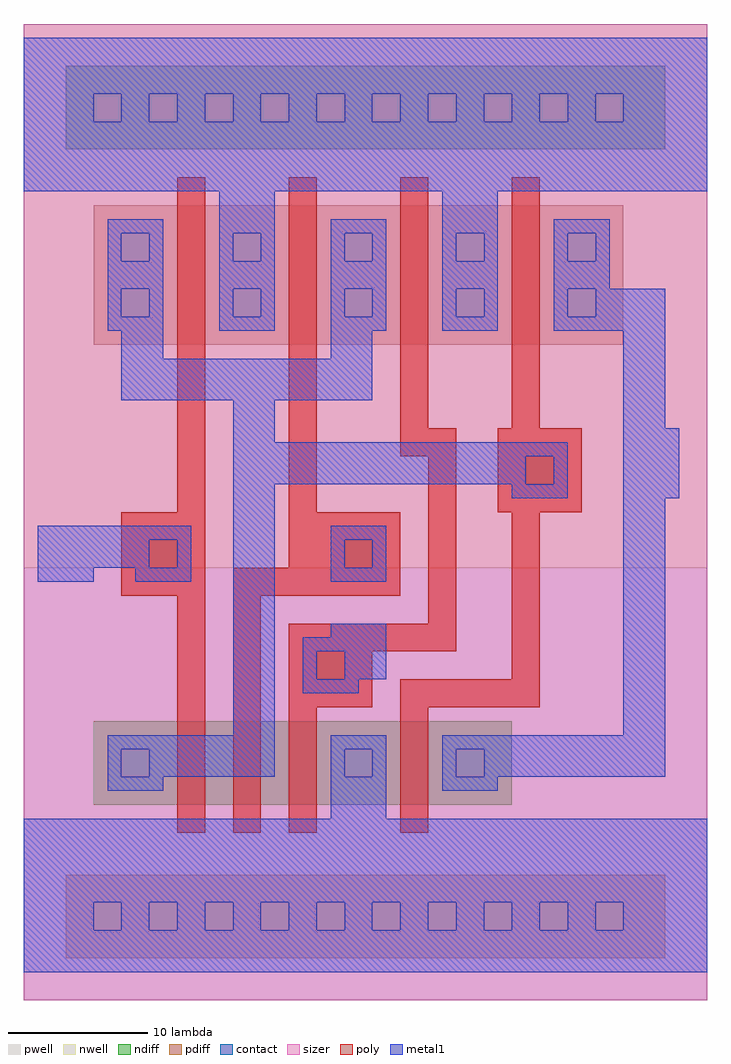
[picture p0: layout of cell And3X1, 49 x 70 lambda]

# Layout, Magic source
magic
tech LibreSilicon-test000-concept-mg-70-7
<< sizer >>
rect 0 0 49 70
<< metal1 >>
rect 0 65 49 69
rect 0 63 5 65
rect 7 63 9 65
rect 11 63 13 65
rect 15 63 17 65
rect 19 63 21 65
rect 23 63 25 65
rect 27 63 29 65
rect 31 63 33 65
rect 35 63 37 65
rect 39 63 41 65
rect 43 63 49 65
rect 0 58 49 63
rect 14 55 18 58
rect 30 55 34 58
rect 6 55 10 56
rect 22 55 26 56
rect 38 55 42 56
rect 6 53 7 55
rect 9 53 10 55
rect 14 53 15 55
rect 17 53 18 55
rect 22 53 23 55
rect 25 53 26 55
rect 30 53 31 55
rect 33 53 34 55
rect 38 53 39 55
rect 41 53 42 55
rect 6 51 10 53
rect 14 51 18 53
rect 22 51 26 53
rect 30 51 34 53
rect 38 51 42 53
rect 6 49 7 51
rect 9 49 10 51
rect 14 49 15 51
rect 17 49 18 51
rect 22 49 23 51
rect 25 49 26 51
rect 30 49 31 51
rect 33 49 34 51
rect 38 49 39 51
rect 41 49 46 51
rect 6 48 10 49
rect 14 48 18 49
rect 22 48 26 49
rect 30 48 34 49
rect 38 48 46 49
rect 7 46 10 48
rect 22 46 25 48
rect 43 41 46 48
rect 7 43 25 46
rect 15 40 18 43
rect 43 36 47 41
rect 15 39 39 40
rect 15 37 36 39
rect 38 37 39 39
rect 15 19 18 37
rect 35 36 39 37
rect 43 19 46 36
rect 1 33 12 34
rect 22 33 26 34
rect 1 31 9 33
rect 11 31 12 33
rect 22 31 23 33
rect 25 31 26 33
rect 1 30 5 31
rect 8 30 12 31
rect 22 30 26 31
rect 22 26 26 27
rect 20 25 26 26
rect 20 23 21 25
rect 23 23 26 25
rect 20 22 24 23
rect 6 18 18 19
rect 22 18 26 19
rect 30 18 46 19
rect 6 16 7 18
rect 9 16 18 18
rect 22 16 23 18
rect 25 16 26 18
rect 30 16 31 18
rect 33 16 46 18
rect 6 15 10 16
rect 22 13 26 16
rect 30 15 34 16
rect 0 7 49 13
rect 0 5 5 7
rect 7 5 9 7
rect 11 5 13 7
rect 15 5 17 7
rect 19 5 21 7
rect 23 5 25 7
rect 27 5 29 7
rect 31 5 33 7
rect 35 5 37 7
rect 39 5 41 7
rect 43 5 49 7
rect 0 2 49 5
<< contact >>
rect 5 63 7 65
rect 9 63 11 65
rect 13 63 15 65
rect 17 63 19 65
rect 21 63 23 65
rect 25 63 27 65
rect 29 63 31 65
rect 33 63 35 65
rect 37 63 39 65
rect 41 63 43 65
rect 7 53 9 55
rect 15 53 17 55
rect 23 53 25 55
rect 31 53 33 55
rect 39 53 41 55
rect 7 49 9 51
rect 15 49 17 51
rect 23 49 25 51
rect 31 49 33 51
rect 39 49 41 51
rect 36 37 38 39
rect 9 31 11 33
rect 23 31 25 33
rect 21 23 23 25
rect 7 16 9 18
rect 23 16 25 18
rect 31 16 33 18
rect 5 5 7 7
rect 9 5 11 7
rect 13 5 15 7
rect 17 5 19 7
rect 21 5 23 7
rect 25 5 27 7
rect 29 5 31 7
rect 33 5 35 7
rect 37 5 39 7
rect 41 5 43 7
<< poly >>
rect 11 35 13 59
rect 19 35 21 59
rect 27 41 29 59
rect 35 41 37 59
rect 27 39 31 41
rect 34 35 40 41
rect 29 27 31 39
rect 7 29 13 35
rect 19 31 27 35
rect 35 23 37 35
rect 15 29 27 31
rect 11 12 13 29
rect 15 12 17 29
rect 19 25 31 27
rect 19 21 25 25
rect 27 21 37 23
rect 19 12 21 21
rect 27 12 29 21
<< ndiff >>
rect 3 61 46 67
rect 5 14 35 20
<< pdiff >>
rect 5 47 43 57
rect 3 3 46 9
<< nwell >>
rect 0 31 49 70
<< pwell >>
rect 0 0 49 31
<< end >>
